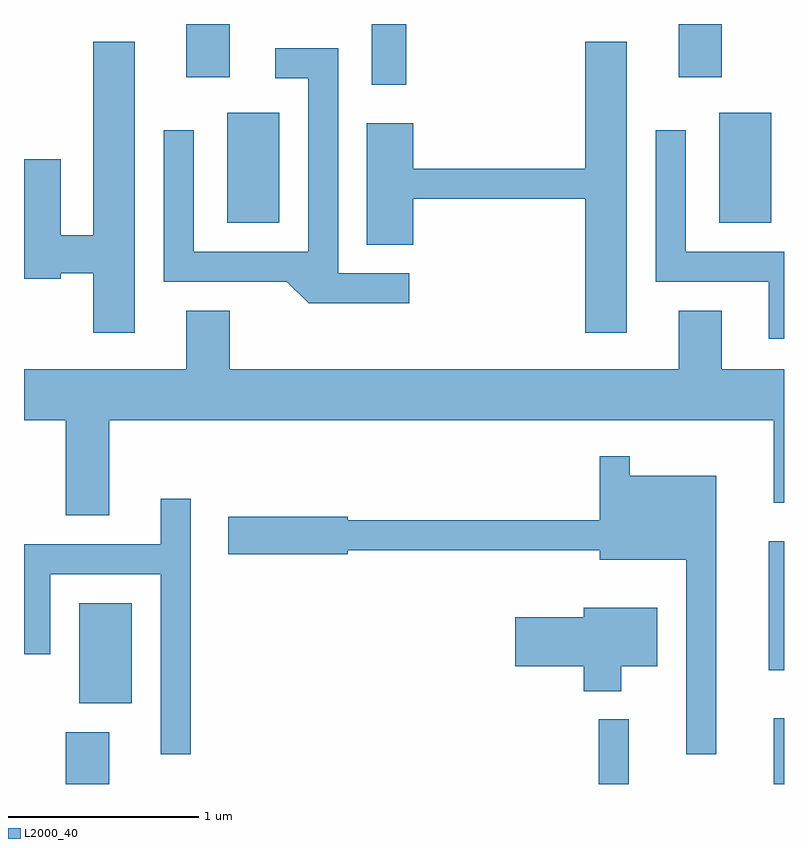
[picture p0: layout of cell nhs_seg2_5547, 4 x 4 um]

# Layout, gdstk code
import gdstk
lib = gdstk.Library(unit=1e-6, precision=1e-09)
def R(c, l, rs):  # rectangles x0, y0, x1, y1
    for r in rs: c.add(gdstk.rectangle(r[:2], r[2:], *l))
def P(c, l, *ps):  # polygons
    for p in ps: c.add(gdstk.Polygon(p, *l))
L2000_40 = (2000, 40)

nhs_seg2_5547 = lib.new_cell('nhs_seg2_5547')
R(nhs_seg2_5547, L2000_40, [(349.831,979.802,350.059,980.074), (352.636,979.802,352.794,980.143), (353.556,979.802,353.611,980.148), (349.901,980.226,350.179,980.754), (353.531,980.401,353.611,981.079), (350.681,982.756,350.954,983.334), (353.271,982.756,353.544,983.334), (351.441,983.481,351.624,983.802), (350.466,983.521,350.694,983.802), (353.056,983.521,353.284,983.802)])
P(nhs_seg2_5547, L2000_40, [(350.194,983.709),(349.976,983.709),(349.976,982.689),(349.804,982.689),(349.804,983.089),(349.611,983.089),(349.611,982.461),(349.804,982.461),(349.804,982.491),(349.976,982.491),(349.976,982.176),(350.194,982.176)],
  [(352.784,983.709),(352.566,983.709),(352.566,983.039),(351.659,983.039),(351.659,983.279),(351.416,983.279),(351.416,982.641),(351.659,982.641),(351.659,982.881),(352.566,982.881),(352.566,982.176),(352.784,982.176)],
  [(351.638,982.489),(351.264,982.489),(351.264,983.674),(350.933,983.674),(350.933,983.516),(351.106,983.516),(351.106,982.604),(350.504,982.604),(350.504,983.243),(350.346,983.243),(350.346,982.446),(350.994,982.446),(351.109,982.331),(351.638,982.331)],
  [(353.611,982.604),(353.094,982.604),(353.094,983.243),(352.936,983.243),(352.936,982.446),(353.531,982.446),(353.531,982.146),(353.611,982.146)],
  [(350.059,981.716),(353.556,981.716),(353.556,981.283),(353.611,981.283),(353.611,981.984),(353.284,981.984),(353.284,982.294),(353.056,982.294),(353.056,981.984),(350.694,981.984),(350.694,982.294),(350.466,982.294),(350.466,981.984),(349.611,981.984),(349.611,981.716),(349.831,981.716),(349.831,981.216),(350.059,981.216)],
  [(353.254,981.424),(352.799,981.424),(352.799,981.528),(352.641,981.528),(352.641,981.189),(351.314,981.189),(351.314,981.209),(350.686,981.209),(350.686,981.011),(351.314,981.011),(351.314,981.031),(352.641,981.031),(352.641,980.981),(353.096,980.981),(353.096,979.958),(353.254,979.958)],
  [(350.489,981.303),(350.331,981.303),(350.331,981.064),(349.611,981.064),(349.611,980.486),(349.749,980.486),(349.749,980.906),(350.331,980.906),(350.331,979.958),(350.489,979.958)],
  [(352.754,980.421),(352.944,980.421),(352.944,980.729),(352.556,980.729),(352.556,980.679),(352.196,980.679),(352.196,980.421),(352.556,980.421),(352.556,980.291),(352.754,980.291)])

lib.write_gds('nhs_seg2_5547.gds')
